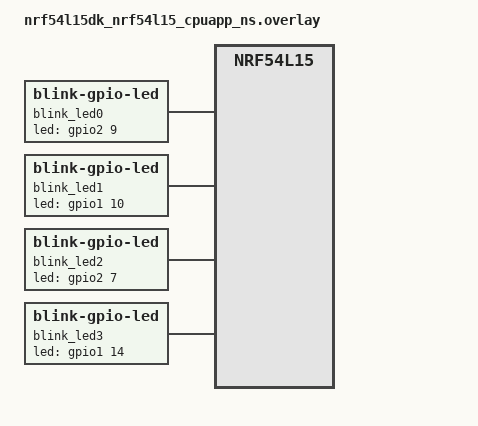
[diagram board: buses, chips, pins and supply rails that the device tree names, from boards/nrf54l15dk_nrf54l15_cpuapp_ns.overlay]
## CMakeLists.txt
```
#
# Copyright (c) 2024 Nordic Semiconductor
#
# SPDX-License-Identifier: LicenseRef-Nordic-5-Clause
#

cmake_minimum_required(VERSION 3.20.0)

list(APPEND EXTRA_ZEPHYR_MODULES ${CMAKE_CURRENT_SOURCE_DIR}/../custom_driver_module )

find_package(Zephyr REQUIRED HINTS $ENV{ZEPHYR_BASE})
project(inter_l7)

target_sources(app PRIVATE src/main.c)
```

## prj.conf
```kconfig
CONFIG_LOG=y

CONFIG_CBPRINTF_FP_SUPPORT=y
CONFIG_RESET_ON_FATAL_ERROR=n

CONFIG_BLINK=y
```

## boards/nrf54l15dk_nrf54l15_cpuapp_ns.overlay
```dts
/ {
	blink_led0: blink-led-0 {
		compatible = "blink-gpio-led";
		led-gpios = <&gpio2 9 GPIO_ACTIVE_HIGH>;
		blink-period-ms = <1000>;
	};

	blink_led1: blink-led-1 {
		compatible = "blink-gpio-led";
		led-gpios = <&gpio1 10 GPIO_ACTIVE_HIGH>;
		blink-period-ms = <1000>;
	};

	blink_led2: blink-led-2 {
		compatible = "blink-gpio-led";
		led-gpios = <&gpio2 7 GPIO_ACTIVE_HIGH>;
		blink-period-ms = <1000>;
	};

	blink_led3: blink-led-3 {
		compatible = "blink-gpio-led";
		led-gpios = <&gpio1 14 GPIO_ACTIVE_HIGH>;
		blink-period-ms = <1000>;
	};
};
```

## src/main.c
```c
/*
 * Copyright (c) 2021 Nordic Semiconductor ASA
 * SPDX-License-Identifier: Apache-2.0
 */

#include <zephyr/kernel.h>
#include <blink.h>
#include <zephyr/logging/log.h>

LOG_MODULE_REGISTER(Lesson7_Exercise3, LOG_LEVEL_INF);

#define BLINK_PERIOD_MS_STEP 100U
#define BLINK_PERIOD_MS_MAX  1000U

int main(void)
{
    /* Start blinking - slow*/ 
    unsigned int period_ms = BLINK_PERIOD_MS_MAX;

    LOG_INF("Zephyr Example Application");

    const struct device * blink[4];
    blink[0]  = DEVICE_DT_GET(DT_NODELABEL(blink_led0));
    blink[1]  = DEVICE_DT_GET(DT_NODELABEL(blink_led1));
    blink[2]  = DEVICE_DT_GET(DT_NODELABEL(blink_led2));
    blink[3]  = DEVICE_DT_GET(DT_NODELABEL(blink_led3));
    
    int ret = 0;
    for (int i = 0; i < 4; i++) {
        if (!device_is_ready(blink[i])) {
            LOG_ERR("Blink LED %d not ready", i);
            return 0;
        }

        /* Use custom API to turn LED off */
        ret = blink_off(blink[i]);
        if (ret < 0) {
            LOG_ERR("Could not turn off LED %d (%d)", i, ret);
            return 0;
        }
    }

    while (1) {
        /* When LED is constantly enabled - start over with high blinking period*/
        if (period_ms == 0U) {
            period_ms = BLINK_PERIOD_MS_MAX;
        } else {
            period_ms -= BLINK_PERIOD_MS_STEP;
        }

        printk("Setting LED period to %u ms\n", period_ms);
        /* Use custom API to change LED blinking period*/
        for (int i = 0; i < 4; i++) {
            ret = blink_set_period_ms(blink[i], period_ms);
            if (ret < 0) {
                LOG_ERR("Could not set LED %d period (%d)", i, ret);
                return 0;
            }
        }
        k_sleep(K_MSEC(2000));
    }

    return 0;
}
```
